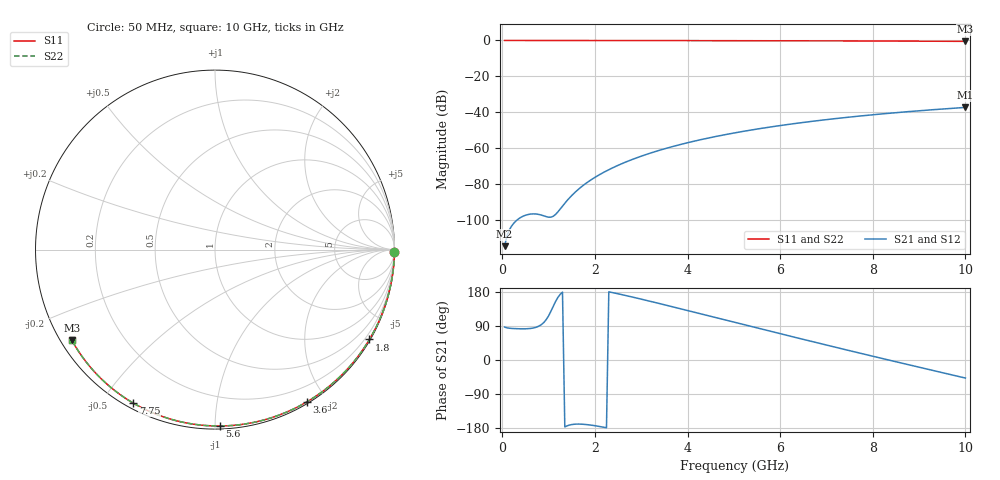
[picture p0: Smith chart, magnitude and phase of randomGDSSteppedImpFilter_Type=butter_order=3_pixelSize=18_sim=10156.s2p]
! freq	dB(S11)	phase(S11)	dB(S12)	phase(S12)
!  dB(S21)	phase(S21)	dB(S22)	phase(S22)
!S-par simulation data
#  GHz  S  DB  R 50
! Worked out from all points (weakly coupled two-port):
!   200 points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, 50 MHz to 10 GHz, reference 50 ohm
!   highest |S21| = -37.26 dB at 10 GHz (marker M1); lowest = -114.4 dB at 50 MHz (marker M2)
!   lowest |S11| = -0.5 dB at 10 GHz (marker M3), VSWR 34.66, Z = 1.56 - j14.4 ohm
!   |S11| at or under -10 dB: nowhere
!   |S22| runs from -0.5 to 0.0 dB; largest |S21 - S12| = 0
!   S11 on the Smith chart (normalised r, x): 50 MHz: open; 1.8 GHz: 0.03, -3.71; 3.6 GHz: 0.02, -1.77; 5.6 GHz: 0.02, -1.03; 7.75 GHz: 0.02, -0.60; 10 GHz: 0.03, -0.29
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0.05  -0.00 -0.9  -114.43 87.0  -114.43 87.0  -0.00 -0.9
0.45  -0.01 -7.7  -97.75 82.2  -97.75 82.2  -0.01 -7.7
0.9  -0.02 -15.3  -97.59 99.4  -97.59 99.4  -0.02 -15.3
1.75  -0.04 -29.4  -80.57 -169.6  -80.57 -169.6  -0.04 -29.4
1.8  -0.04 -30.2  -79.60 -170.2  -79.60 -170.2  -0.04 -30.2
1.95  -0.04 -32.7  -76.97 -172.4  -76.97 -172.4  -0.04 -32.7
2.1  -0.04 -35.1  -74.64 -175.4  -74.64 -175.4  -0.04 -35.1
2.3  -0.05 -38.4  -71.89 179.9  -71.89 179.9  -0.05 -38.4
2.5  -0.05 -41.6  -69.46 174.7  -69.46 174.7  -0.05 -41.6
2.9  -0.06 -48.0  -65.30 163.5  -65.30 163.5  -0.06 -48.0
3.4  -0.07 -55.8  -61.04 148.8  -61.04 148.8  -0.07 -55.8
3.6  -0.08 -58.9  -59.56 142.7  -59.56 142.7  -0.08 -58.9
4.3  -0.10 -69.6  -55.11 121.4  -55.11 121.4  -0.10 -69.6
5.05  -0.12 -80.6  -51.26 98.4  -51.26 98.4  -0.12 -80.6
5.6  -0.15 -88.5  -48.88 81.6  -48.88 81.6  -0.15 -88.5
6.15  -0.17 -96.3  -46.79 64.9  -46.79 64.9  -0.17 -96.3
6.7  -0.20 -103.9  -44.95 48.4  -44.95 48.4  -0.20 -103.9
7.2  -0.23 -110.6  -43.45 33.5  -43.45 33.5  -0.23 -110.6
7.75  -0.27 -118.0  -41.96 17.2  -41.96 17.2  -0.27 -118.0
8.35  -0.32 -126.0  -40.51 -0.3  -40.51 -0.3  -0.32 -126.0
9.2  -0.41 -137.2  -38.71 -24.8  -38.71 -24.8  -0.41 -137.2
10  -0.50 -147.7  -37.26 -47.6  -37.26 -47.6  -0.50 -147.7
